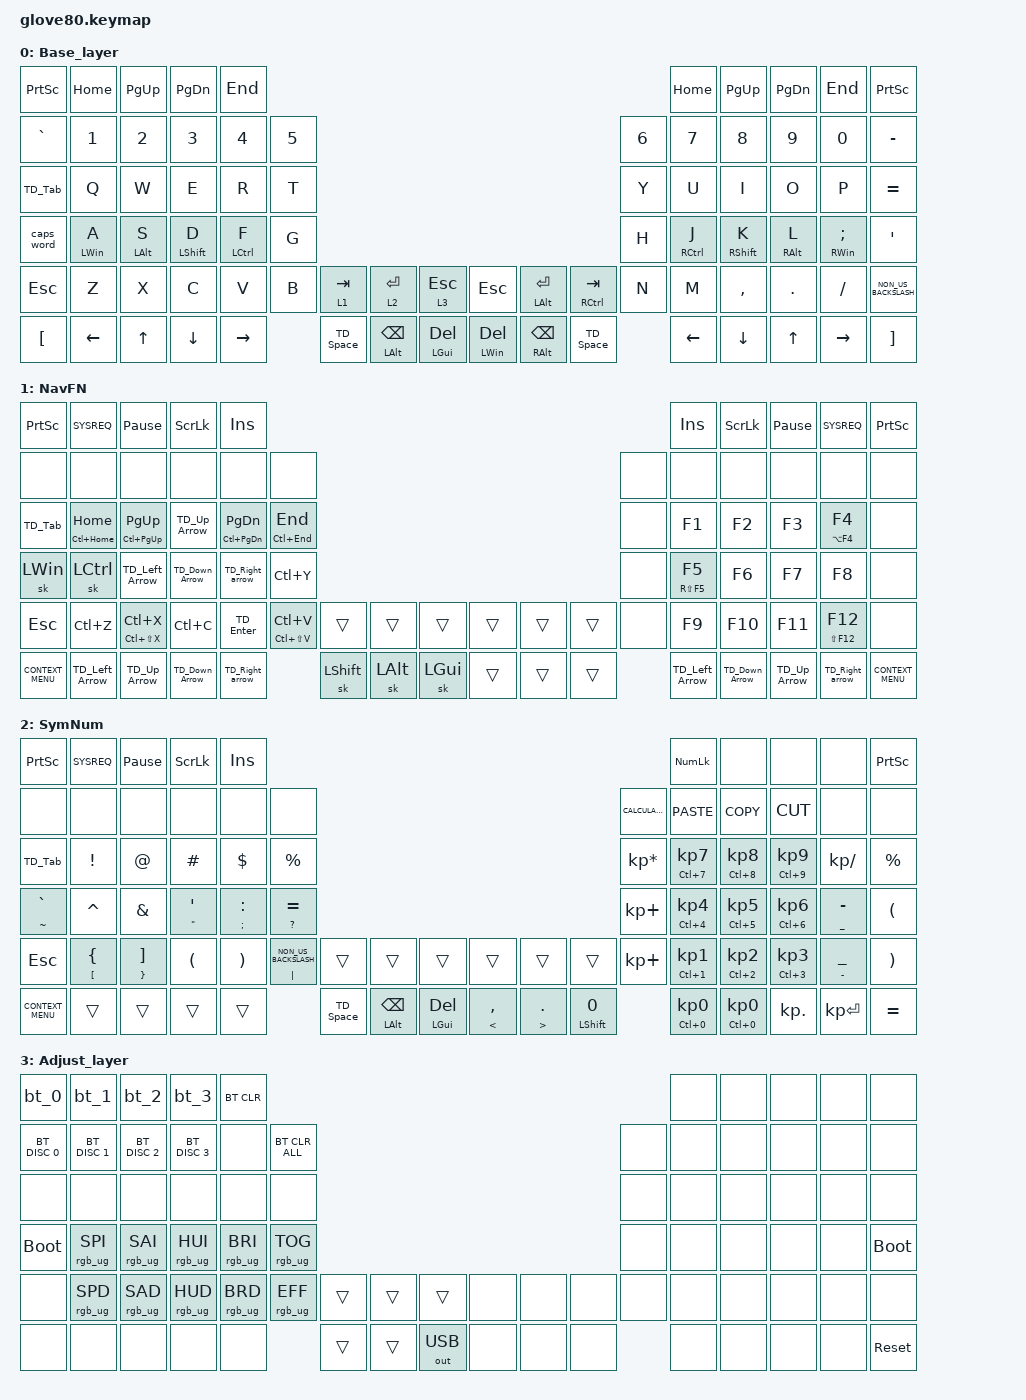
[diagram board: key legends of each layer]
/*
 * Copyright (c) 2020 The ZMK Contributors
 *
 * SPDX-License-Identifier: MIT
 */

#include <behaviors.dtsi>
#include <dt-bindings/zmk/bt.h>
#include <dt-bindings/zmk/keys.h>
#include <dt-bindings/zmk/outputs.h>
#include <dt-bindings/zmk/rgb.h>

#define HYPER LC(LS(LG(LALT)))

// layers

#define DEFAULT 0
#define LOWER 1
#define MAGIC 2
#define FACTORY_TEST 3

/ {
    behaviors {
        // For the "layer" key, it'd nice to be able to use it as either a shift or a toggle.
        // Configure it as a tap dance, so the first tap (or hold) is a &mo and the second tap is a &to

        layer_td: tap_dance_0 {
            compatible = "zmk,behavior-tap-dance";
            label = "LAYER_TAP_DANCE";
            #binding-cells = <0>;
            tapping-term-ms = <200>;
            bindings = <&mo 0>, <&to 0>;
        };

        magic: magic_hold_tap {
            compatible = "zmk,behavior-hold-tap";
            label = "MAGIC_HOLD_TAP";
            #binding-cells = <2>;
            flavor = "tap-preferred";
            tapping-term-ms = <200>;
            bindings = <&mo>, <&rgb_ug_status_macro>;
        };

        TD_Left_Arrow: TD_Left_Arrow {
            compatible = "zmk,behavior-tap-dance";
            label = "TD_LEFT_ARROW";
            #binding-cells = <0>;
            bindings =
                <&mt LS(LEFT_ARROW) LEFT_ARROW>,
                <&mt LC(LS(LEFT_ARROW)) LC(LEFT_ARROW)>;
        };

        TD_Up_Arrow: TD_Up_Arrow {
            compatible = "zmk,behavior-tap-dance";
            label = "TD_UP_ARROW";
            #binding-cells = <0>;
            bindings =
                <&mt LS(UP_ARROW) UP_ARROW>,
                <&mt LC(LS(UP_ARROW)) LC(UP_ARROW)>;
        };

        TD_Down_Arrow: TD_Down_Arrow {
            compatible = "zmk,behavior-tap-dance";
            label = "TD_DOWN_ARROW";
            #binding-cells = <0>;
            bindings =
                <&mt LS(DOWN_ARROW) DOWN_ARROW>,
                <&mt LC(LS(DOWN_ARROW)) LC(DOWN_ARROW)>;
        };

        TD_Right_arrow: TD_Right_arrow {
            compatible = "zmk,behavior-tap-dance";
            label = "TD_RIGHT_ARROW";
            #binding-cells = <0>;
            bindings =
                <&mt LS(RIGHT_ARROW) RIGHT_ARROW>,
                <&mt LC(LS(RIGHT_ARROW)) LC(RIGHT_ARROW)>;
        };

        TD_Enter: TD_Enter {
            compatible = "zmk,behavior-tap-dance";
            label = "TD_ENTER";
            #binding-cells = <0>;
            bindings = <&mt LS(ENTER) ENTER>, <&mt LC(ENTER) LA(ENTER)>;
        };

        TD_Tab: TD_Tab {
            compatible = "zmk,behavior-tap-dance";
            label = "TD_TAB";
            #binding-cells = <0>;
            bindings = <&mt LC(TAB) TAB>, <&kp LC(LS(TAB))>;
        };

        TD_Space: TD_Space {
            compatible = "zmk,behavior-tap-dance";
            label = "TD_SPACE";
            #binding-cells = <0>;
            bindings = <&mt LEFT_SHIFT SPACE>, <&kp LS(SPACE)>;
        };

        LeftIndex: LeftIndex {
            compatible = "zmk,behavior-hold-tap";
            label = "LEFTINDEX";
            bindings = <&kp>, <&kp>;

            #binding-cells = <2>;
            tapping-term-ms = <420>;
            quick-tap-ms = <550>;
            require-prior-idle-ms = <350>;
            flavor = "tap-preferred";
            hold-trigger-on-release;
            hold-trigger-key-positions = <54 71 8 9 16 17 18 19 20 21 28 29 30 31 32 33 40 41 42 43 44 45 58 59 60 61 62 63 74 75 76 77 78 79 55 56 72 5 6 7 16 17 18 19 28 29 30 31 40 41 42 43 56 57 58 59 60 61 73 74 75 76 77 52 53 69 70 0 1 2 3 4 10 11 12 13 14 15 22 23 24 25 26 27 34 39 46 47 48 49 50 51 52 64 65 66 67 68 69 23 48 49 23 35 36 37 38 48 49 50>;
        };

        LeftMiddle: LeftMiddle {
            compatible = "zmk,behavior-hold-tap";
            label = "LEFTMIDDLE";
            bindings = <&kp>, <&kp>;

            #binding-cells = <2>;
            tapping-term-ms = <460>;
            quick-tap-ms = <550>;
            require-prior-idle-ms = <400>;
            flavor = "tap-preferred";
            hold-trigger-on-release;
            hold-trigger-key-positions = <52 53 54 70 71 8 9 16 17 18 19 20 21 28 29 30 31 32 33 40 41 42 43 44 45 58 59 60 61 62 63 74 75 76 77 78 79 55 56 72 5 6 7 16 17 18 19 28 29 30 31 40 41 42 43 56 57 58 59 60 61 73 74 75 76 77 0 1 2 3 4 10 11 12 13 14 22 34 46 66 67 68 64 65 15 27 39 51 69 11 23 24 25 26 27 47 48 49 50 66 67 68 23 35 36 37 38 39 48 49 50 51>;
        };

        LeftRing: LeftRing {
            compatible = "zmk,behavior-hold-tap";
            label = "LEFTRING";
            bindings = <&kp>, <&kp>;

            #binding-cells = <2>;
            tapping-term-ms = <490>;
            quick-tap-ms = <550>;
            require-prior-idle-ms = <400>;
            flavor = "tap-preferred";
            hold-trigger-on-release;
            hold-trigger-key-positions = <52 53 54 70 71 8 9 16 17 18 19 20 21 28 29 30 31 32 33 40 41 42 43 44 45 58 59 60 61 62 63 74 75 76 77 78 79 55 56 72 5 6 7 16 17 18 19 28 29 30 31 40 41 42 43 56 57 58 59 60 61 73 74 75 76 77 0 1 2 3 4 10 11 12 13 14 22 34 46 66 67 68 64 65 15 27 39 51 69 47 48 49 50 66 67 68 11 23 24 25 26 27 23 35 36 37 38>;
        };

        LeftPinky: LeftPinky {
            compatible = "zmk,behavior-hold-tap";
            label = "LEFTPINKY";
            bindings = <&kp>, <&kp>;

            #binding-cells = <2>;
            tapping-term-ms = <510>;
            quick-tap-ms = <550>;
            require-prior-idle-ms = <400>;
            flavor = "tap-preferred";
            hold-trigger-on-release;
            hold-trigger-key-positions = <52 53 54 70 71 8 9 16 17 18 19 20 21 28 29 30 31 32 33 40 41 42 43 44 45 58 59 60 61 62 63 74 75 76 77 78 79 55 56 72 5 6 7 16 17 18 19 28 29 30 31 40 41 42 43 56 57 58 59 60 61 73 74 75 76 77 0 1 2 3 4 10 11 12 13 14 22 34 46 66 67 68 64 65 15 27 39 51 69 47 48 49 50 51 66 67 68 10 11 12 13 14 15 22 23 24 25 26 27 39 23 35 36 37 38>;
        };

        RightIndex: RightIndex {
            compatible = "zmk,behavior-hold-tap";
            label = "RIGHTINDEX";
            bindings = <&kp>, <&kp>;

            #binding-cells = <2>;
            tapping-term-ms = <420>;
            quick-tap-ms = <550>;
            require-prior-idle-ms = <350>;
            flavor = "tap-preferred";
            hold-trigger-on-release;
            hold-trigger-key-positions = <54 71 8 9 16 17 18 19 20 21 28 29 30 31 32 33 40 45 58 59 60 61 62 63 74 75 76 77 78 79 55 56 72 5 6 7 16 17 18 19 28 29 30 31 40 56 57 58 59 60 61 73 74 75 76 77 52 53 69 70 0 1 2 3 4 10 11 12 13 14 15 22 23 24 25 26 27 34 39 46 47 48 49 50 51 52 64 65 66 67 68 69 23 48 49 35 36 37 38 47 48 49 50 32 41 42 43 44>;
        };

        RightMiddle: RightMiddle {
            compatible = "zmk,behavior-hold-tap";
            label = "RIGHTMIDDLE";
            bindings = <&kp>, <&kp>;

            #binding-cells = <2>;
            tapping-term-ms = <460>;
            quick-tap-ms = <550>;
            require-prior-idle-ms = <400>;
            flavor = "tap-preferred";
            hold-trigger-on-release;
            hold-trigger-key-positions = <52 53 54 70 71 8 9 16 17 18 19 20 21 28 29 30 31 32 33 40 45 58 59 60 61 62 63 74 75 76 77 78 79 55 56 72 5 6 7 16 17 18 19 28 29 30 31 40 56 57 58 59 60 61 73 74 75 76 77 0 1 2 3 4 10 11 12 13 14 22 34 46 66 67 68 64 65 15 27 39 51 69 11 23 24 25 26 27 47 48 49 50 66 67 68 35 36 37 38 32 41 42 43 44>;
        };

        RightRing: RightRing {
            compatible = "zmk,behavior-hold-tap";
            label = "RIGHTRING";
            bindings = <&kp>, <&kp>;

            #binding-cells = <2>;
            tapping-term-ms = <490>;
            quick-tap-ms = <550>;
            require-prior-idle-ms = <400>;
            flavor = "tap-preferred";
            hold-trigger-on-release;
            hold-trigger-key-positions = <52 53 54 70 71 8 9 16 17 18 19 20 21 28 29 30 31 32 33 40 45 58 59 60 61 62 63 74 75 76 77 78 79 55 56 72 5 6 7 16 17 18 19 28 29 30 31 40 56 57 58 59 60 61 73 74 75 76 77 0 1 2 3 4 10 11 12 13 14 22 34 46 66 67 68 64 65 15 27 39 51 69 47 48 49 50 66 67 68 11 23 24 25 26 27 23 35 36 37 38 39 40 41 42 43 44 45 58 59 60 61>;
        };

        RightPinky: RightPinky {
            compatible = "zmk,behavior-hold-tap";
            label = "RIGHTPINKY";
            bindings = <&kp>, <&kp>;

            #binding-cells = <2>;
            tapping-term-ms = <510>;
            quick-tap-ms = <550>;
            require-prior-idle-ms = <400>;
            flavor = "tap-preferred";
            hold-trigger-on-release;
            hold-trigger-key-positions = <52 53 54 70 71 8 9 16 17 18 19 20 21 28 29 30 31 32 33 40 45 58 59 60 61 62 63 74 75 76 77 78 79 55 56 72 5 6 7 16 17 18 19 28 29 30 31 40 56 57 58 59 60 61 73 74 75 76 77 0 1 2 3 4 10 11 12 13 14 22 34 46 66 67 68 64 65 15 27 39 51 69 47 48 49 50 51 66 67 68 10 11 12 13 14 15 22 23 24 25 26 27 39 23 24 25 26 27 35 36 37 38 39 48 49 50 51 32 33 41 42 43 44 45 59 60 61>;
        };
    };

    macros {
        rgb_ug_status_macro: rgb_ug_status_macro_0 {
            label = "RGB_UG_STATUS";
            compatible = "zmk,behavior-macro";
            #binding-cells = <0>;
            bindings = <&rgb_ug RGB_STATUS>;
        };

        bt_0: bt_profile_macro_0 {
            label = "BT_0";
            compatible = "zmk,behavior-macro";
            #binding-cells = <0>;
            bindings = <&out OUT_BLE &bt BT_SEL 0>;
        };

        bt_1: bt_profile_macro_1 {
            label = "BT_1";
            compatible = "zmk,behavior-macro";
            #binding-cells = <0>;
            bindings = <&out OUT_BLE &bt BT_SEL 1>;
        };

        bt_2: bt_profile_macro_2 {
            label = "BT_2";
            compatible = "zmk,behavior-macro";
            #binding-cells = <0>;
            bindings = <&out OUT_BLE &bt BT_SEL 2>;
        };

        bt_3: bt_profile_macro_3 {
            label = "BT_3";
            compatible = "zmk,behavior-macro";
            #binding-cells = <0>;
            bindings = <&out OUT_BLE &bt BT_SEL 3>;
        };
    };

    combos {
        compatible = "zmk,combos";

        LDel {
            bindings = <&kp DELETE>;
            key-positions = <38 37>;
            layers = <0 2>;
        };

        RDel {
            bindings = <&kp DELETE>;
            key-positions = <42 41>;
            layers = <0 2>;
        };

        LEnter {
            bindings = <&kp ENTER>;
            key-positions = <38 35>;
            layers = <0 2>;
        };

        LText_extract {
            bindings = <&kp LG(LS(E))>;
            key-positions = <26 25 24>;
            layers = <0 1>;
        };

        RText_extract {
            bindings = <&kp LG(LS(E))>;
            key-positions = <29 30 31>;
            layers = <0 2>;
        };

        LCaps_Word {
            bindings = <&caps_word>;
            key-positions = <50 47>;
            layers = <0 2>;
        };

        RCaps_Word {
            bindings = <&caps_word>;
            key-positions = <59 62>;
            layers = <0 2>;
        };

        LAltEnter {
            bindings = <&kp LA(ENTER)>;
            key-positions = <38 37 36 35>;
            layers = <0 2>;
        };

        RAltEnter {
            bindings = <&kp LA(ENTER)>;
            key-positions = <41 42 43 44>;
            layers = <0 2>;
        };

        REnter {
            bindings = <&kp ENTER>;
            key-positions = <41 44>;
            layers = <0 2>;
        };

        LToLayer1 {
            bindings = <&to 1>;
            key-positions = <52 69>;
        };

        RToLayer1 {
            bindings = <&to 1>;
            key-positions = <57 74>;
        };

        LToLayer2 {
            bindings = <&to 2>;
            key-positions = <53 70>;
        };

        RToLayer2 {
            bindings = <&to 2>;
            key-positions = <56 73>;
        };

        LToLayer3 {
            bindings = <&to 3>;
            key-positions = <54 71>;
        };

        RToLayer3 {
            bindings = <&to 3>;
            key-positions = <55 72>;
        };

        CTRLAltDel {
            bindings = <&kp LC(LA(DEL))>;
            key-positions = <72 73 74>;
        };

        LToLayer0 {
            bindings = <&to 0>;
            key-positions = <65 66 67 68>;
        };

        RToLayer0 {
            bindings = <&to 0>;
            key-positions = <75 76 77 78>;
        };

        LCtrlDel {
            bindings = <&kp LC(DELETE)>;
            key-positions = <37 36 38>;
            layers = <0 2>;
        };

        RCtrlDel {
            bindings = <&kp LC(DELETE)>;
            key-positions = <41 42 43>;
            layers = <0 2>;
        };

        LSpace {
            bindings = <&kp SPACE>;
            key-positions = <37 36>;
            layers = <0 2>;
        };

        RSpace {
            bindings = <&kp SPACE>;
            key-positions = <42 43>;
            layers = <0 2>;
        };

        LBackspace {
            bindings = <&kp BACKSPACE>;
            key-positions = <36 35>;
            layers = <0 2>;
        };

        RBackspace {
            bindings = <&kp BACKSPACE>;
            key-positions = <43 44>;
            layers = <0 2>;
        };

        LCtrlBackspace {
            bindings = <&kp LC(BACKSPACE)>;
            key-positions = <36 35 37>;
            layers = <0 2>;
        };

        RCtrlBackspace {
            bindings = <&kp LC(BACKSPACE)>;
            key-positions = <44 43 42>;
            layers = <0 2>;
        };

        CtrlUp {
            bindings = <&mt LS(LC(UP_ARROW)) LC(UP_ARROW)>;
            key-positions = <52 25>;
        };

        CtrlDown {
            bindings = <&mt LS(LC(DOWN_ARROW)) LC(DOWN_ARROW)>;
            key-positions = <52 37>;
        };

        CtrlLeft {
            bindings = <&mt LS(LC(LEFT_ARROW)) LC(LEFT_ARROW)>;
            key-positions = <52 36>;
        };

        CtrlRight {
            bindings = <&mt LS(LC(RIGHT_ARROW)) LC(RIGHT_ARROW)>;
            key-positions = <52 38>;
        };
    };

    keymap {
        compatible = "zmk,keymap";

        Base_layer {
            // ---------------------------------------------------------------------------------------------------------------------------------
            // |  F1   |  F2 |  F3 |  F4  |  F5  |                                                               |  F6   |  F7   |  F8  |   F9  |  F10 |
            // |  =    |  1  |  2  |  3   |  4   |  5   |                                                 |  6   |   7   |   8   |  9   |   0   |   -  |
            // |  TAB  |  Q  |  W  |  E   |  R   |  T   |                                                 |  Y   |   U   |   I   |  O   |   P   |   \  |
            // |  ESC  |  A  |  S  |  D   |  F   |  G   |                                                 |  H   |   J   |   K   |  L   |   ;   |   '  |
            // |   `   |  Z  |  X  |  C   |  V   |  B   | LSHFT | LCTRL | LOWER | | LGUI  | RCTRL | RSHFT |  N   |   M   |   ,   |  .   |   /   | PGUP |
            // | MAGIC | HOME| END | LEFT | RIGHT|      | BSPC  | DEL   | LALT  | | RALT  | RET   | SPACE |      |  UP   | DOWN  |  [   |   ]   | PGDN |

            bindings = <
&kp PRINTSCREEN   &kp HOME               &kp PAGE_UP           &kp PAGE_DOWN             &kp END                                                                                                                                               &kp HOME             &kp PAGE_UP                &kp PAGE_DOWN           &kp END                          &kp PRINTSCREEN
&kp GRAVE         &kp N1                 &kp N2                &kp N3                    &kp N4              &kp N5                                                                                                                    &kp N6  &kp N7               &kp N8                     &kp N9                  &kp N0                           &kp MINUS
&TD_Tab           &kp Q                  &kp W                 &kp E                     &kp R               &kp T                                                                                                                     &kp Y   &kp U                &kp I                      &kp O                   &kp P                            &kp EQUAL
&caps_word        &LeftPinky LEFT_WIN A  &LeftRing LEFT_ALT S  &LeftMiddle LEFT_SHIFT D  &LeftIndex LCTRL F  &kp G                                                                                                                     &kp H   &RightIndex RCTRL J  &RightIndex RIGHT_SHIFT K  &RightRing RIGHT_ALT L  &RightPinky RIGHT_WIN SEMICOLON  &kp SQT
&kp ESC           &kp Z                  &kp X                 &kp C                     &kp V               &kp B   &lt 1 TAB  &lt 2 ENTER             &lt 3 ESCAPE         &kp ESCAPE        &mt LEFT_ALT ENTER       &mt RCTRL TAB  &kp N   &kp M                &kp COMMA                  &kp DOT                 &kp SLASH                        &kp NON_US_BACKSLASH
&kp LEFT_BRACKET  &kp LEFT_ARROW         &kp UP_ARROW          &kp DOWN_ARROW            &kp RIGHT_ARROW             &TD_Space  &mt LEFT_ALT BACKSPACE  &mt LEFT_GUI DELETE  &mt LEFT_WIN DEL  &mt RIGHT_ALT BACKSPACE  &TD_Space              &kp LEFT_ARROW       &kp DOWN_ARROW             &kp UP_ARROW            &kp RIGHT_ARROW                  &kp RIGHT_BRACKET
            >;
        };

        NavFN {
            bindings = <
&kp PRINTSCREEN     &kp SYSREQ         &kp PAUSE_BREAK      &kp SCROLLLOCK  &kp INS                                                                                                                      &kp INSERT      &kp SCROLLLOCK  &kp PAUSE_BREAK  &kp SYSREQ       &kp PRINTSCREEN
&none               &none              &none                &none           &none                        &none                                                                                    &none  &none           &none           &none            &none            &none
&TD_Tab             &mt LC(HOME) HOME  &mt LC(PG_UP) PG_UP  &TD_Up_Arrow    &mt LC(PAGE_DOWN) PAGE_DOWN  &mt LC(END) END                                                                          &none  &kp F1          &kp F2          &kp F3           &mt LA(F4) F4    &none
&sk LEFT_WIN        &sk LCTRL          &TD_Left_Arrow       &TD_Down_Arrow  &TD_Right_arrow              &kp LC(Y)                                                                                &none  &mt RS(F5) F5   &kp F6          &kp F7           &kp F8           &none
&kp ESC             &kp LC(Z)          &mt LC(LS(X)) LC(X)  &kp LC(C)       &TD_Enter                    &mt LC(LS(V)) LC(V)  &trans          &trans        &trans        &trans  &trans  &trans  &none  &kp F9          &kp F10         &kp F11          &mt LS(F12) F12  &none
&kp K_CONTEXT_MENU  &TD_Left_Arrow     &TD_Up_Arrow         &TD_Down_Arrow  &TD_Right_arrow                                   &sk LEFT_SHIFT  &sk LEFT_ALT  &sk LEFT_GUI  &trans  &trans  &trans         &TD_Left_Arrow  &TD_Down_Arrow  &TD_Up_Arrow     &TD_Right_arrow  &kp K_CONTEXT_MENU
            >;
        };

        SymNum {
            bindings = <
&kp PRINTSCREEN     &kp SYSREQ                   &kp PAUSE_BREAK                &kp SCROLLLOCK         &kp INS                                                                                                                                                                                   &kp KP_NUM                    &none                   &none                         &none            &kp PRINTSCREEN
&none               &none                        &none                          &none                  &none                  &none                                                                                                                                            &kp K_CALCULATOR  &kp K_PASTE                   &kp K_COPY              &kp K_CUT                     &none            &none
&TD_Tab             &kp EXCLAMATION              &kp AT_SIGN                    &kp HASH               &kp DOLLAR             &kp PERCENT                                                                                                                                      &kp KP_MULTIPLY   &mt LC(N7) KP_NUMBER_7        &mt LC(N8) KP_NUMBER_8  &mt LC(N9) KP_NUMBER_9        &kp KP_DIVIDE    &kp PERCENT
&mt TILDE GRAVE     &kp CARET                    &kp AMPERSAND                  &mt DOUBLE_QUOTES SQT  &mt SEMICOLON COLON    &mt QUESTION EQUAL                                                                                                                               &kp KP_PLUS       &mt LC(NUMBER_4) KP_NUMBER_4  &mt LC(N5) KP_NUMBER_5  &mt LC(NUMBER_6) KP_NUMBER_6  &mt UNDER MINUS  &kp LEFT_PARENTHESIS
&kp ESC             &mt LEFT_BRACKET LEFT_BRACE  &mt RIGHT_BRACE RIGHT_BRACKET  &kp LEFT_PARENTHESIS   &kp RIGHT_PARENTHESIS  &mt PIPE NON_US_BACKSLASH  &trans     &trans                  &trans            &trans               &trans                   &trans             &kp KP_PLUS       &mt LC(NUMBER_1) KP_NUMBER_1  &mt LC(NUMBER_2) KP_N2  &mt LC(NUMBER_3) KP_NUMBER_3  &mt MINUS UNDER  &kp RIGHT_PARENTHESIS
&kp K_CONTEXT_MENU  &trans                       &trans                         &trans                 &trans                                            &TD_Space  &mt LEFT_ALT BACKSPACE  &mt LEFT_GUI DEL  &mt LESS_THAN COMMA  &mt GREATER_THAN PERIOD  &mt LEFT_SHIFT N0                    &mt LC(NUMBER_0) KP_NUMBER_0  &mt LC(N0) KP_NUMBER_0  &kp KP_DOT                    &kp KP_ENTER     &kp EQUAL
            >;
        };

        Adjust_layer {
            bindings = <
&bt_0          &bt_1            &bt_2            &bt_3            &bt BT_CLR                                                                                  &none  &none  &none  &none  &none
&bt BT_DISC 0  &bt BT_DISC 1    &bt BT_DISC 2    &bt BT_DISC 3    &none            &bt BT_CLR_ALL                                                      &none  &none  &none  &none  &none  &none
&none          &none            &none            &none            &none            &none                                                               &none  &none  &none  &none  &none  &none
&bootloader    &rgb_ug RGB_SPI  &rgb_ug RGB_SAI  &rgb_ug RGB_HUI  &rgb_ug RGB_BRI  &rgb_ug RGB_TOG                                                     &none  &none  &none  &none  &none  &bootloader
&none          &rgb_ug RGB_SPD  &rgb_ug RGB_SAD  &rgb_ug RGB_HUD  &rgb_ug RGB_BRD  &rgb_ug RGB_EFF  &trans  &trans  &trans        &none  &none  &none  &none  &none  &none  &none  &none  &none
&none          &none            &none            &none            &none                             &trans  &trans  &out OUT_USB  &none  &none  &none         &none  &none  &none  &none  &sys_reset
            >;
        };
    };
};
